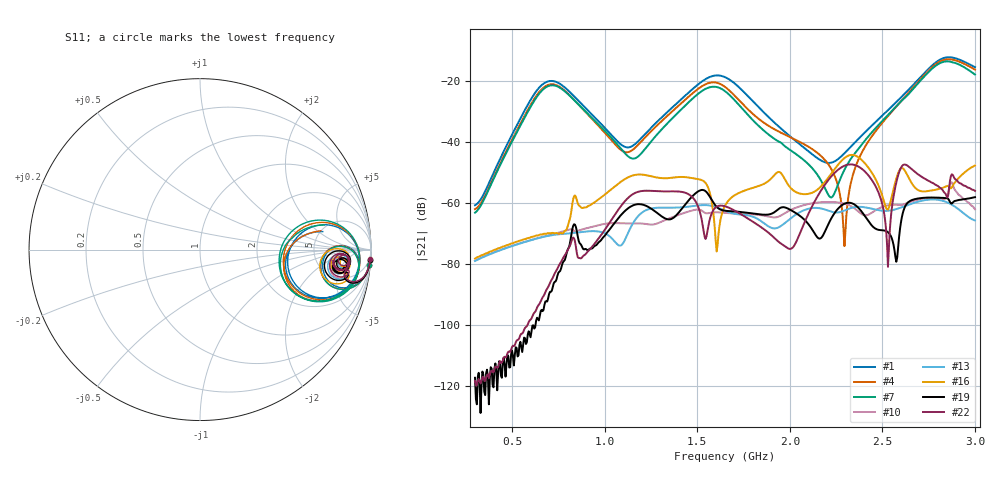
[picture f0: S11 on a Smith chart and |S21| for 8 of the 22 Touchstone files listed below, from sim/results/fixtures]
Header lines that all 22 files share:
! simulated by sim/fixtures_fdtd.py (S12 = S21, S22 not computed)
# HZ S RI R 50
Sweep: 300 MHz to 3 GHz
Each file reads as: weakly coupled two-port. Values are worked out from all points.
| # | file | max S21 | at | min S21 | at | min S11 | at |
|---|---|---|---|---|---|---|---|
| 1 | xloopR50_cx_empty.s2p | -12.37 dB | 2.86 GHz | -60.8 dB | 300 MHz | -5.9 dB | 2.84 GHz |
| 2 | xloopR50_cx_flat0_+00+00_genuine.s2p | -13.09 dB | 2.86 GHz | -69.6 dB | 2.3 GHz | -6.1 dB | 1.61 GHz |
| 3 | xloopR50_cx_flat0_+00+00_tampered.s2p | -13.67 dB | 2.855 GHz | -63.4 dB | 300 MHz | -6.7 dB | 2.835 GHz |
| 4 | xloopR50_cx_flat0_+02+01_genuine.s2p | -13.03 dB | 2.855 GHz | -74.2 dB | 2.295 GHz | -6.2 dB | 1.61 GHz |
| 5 | xloopR50_cx_flat0_+02+01_tampered.s2p | -13.51 dB | 2.855 GHz | -63.5 dB | 300 MHz | -6.7 dB | 2.835 GHz |
| 6 | xloopR50_cx_flat180_+00+00_genuine.s2p | -13.12 dB | 2.855 GHz | -63.0 dB | 300 MHz | -6.6 dB | 1.61 GHz |
| 7 | xloopR50_cx_flat180_+00+00_tampered.s2p | -13.71 dB | 2.85 GHz | -63.3 dB | 300 MHz | -6.6 dB | 1.605 GHz |
| 8 | xloopR50_hv_empty.s2p | -53.16 dB | 2.805 GHz | -72.4 dB | 300 MHz | -2.3 dB | 1.19 GHz |
| 9 | xloopR50_hv_flat0_+00+00_genuine.s2p | -59.41 dB | 2.795 GHz | -79.0 dB | 300 MHz | -2.3 dB | 1.19 GHz |
| 10 | xloopR50_hv_flat0_+00+00_tampered.s2p | -53.29 dB | 2.87 GHz | -79.0 dB | 300 MHz | -2.3 dB | 1.19 GHz |
| 11 | xloopR50_hv_flat0_+00+28_genuine.s2p | -49.03 dB | 2.845 GHz | -72.4 dB | 300 MHz | -2.4 dB | 2.995 GHz |
| 12 | xloopR50_hv_flat0_+00+28_tampered.s2p | -47.60 dB | 2.83 GHz | -75.5 dB | 1.8 GHz | -2.4 dB | 2.99 GHz |
| 13 | xloopR50_hv_flat90_+00+00_genuine.s2p | -58.94 dB | 2.77 GHz | -79.1 dB | 300 MHz | -2.5 dB | 1.185 GHz |
| 14 | xloopR50_hv_flat90_+00+00_tampered.s2p | -50.52 dB | 1.48 GHz | -78.8 dB | 300 MHz | -2.8 dB | 1.17 GHz |
| 15 | xloopR50_hv_flat90_+28+00_genuine.s2p | -53.96 dB | 2.35 GHz | -79.5 dB | 300 MHz | -2.5 dB | 1.195 GHz |
| 16 | xloopR50_hv_flat90_+28+00_tampered.s2p | -44.34 dB | 2.335 GHz | -78.3 dB | 300 MHz | -3.0 dB | 1.2 GHz |
| 17 | xloopR50_xv_flat0_+00+00_tampered.s2p | -66.58 dB | 2.65 GHz | -134.0 dB | 300 MHz | -2.8 dB | 1.155 GHz |
| 18 | xloopR50_xv_flat0_+00+28_genuine.s2p | -59.65 dB | 1.185 GHz | -107.2 dB | 300 MHz | -2.5 dB | 1.185 GHz |
| 19 | xloopR50_xv_flat0_+00+28_tampered.s2p | -55.82 dB | 1.525 GHz | -128.9 dB | 330 MHz | -2.7 dB | 1.175 GHz |
| 20 | xloopR50_xv_flat90_+00+00_tampered.s2p | -64.52 dB | 2.875 GHz | -128.0 dB | 305 MHz | -2.3 dB | 1.17 GHz |
| 21 | xloopR50_xv_flat90_+28+00_genuine.s2p | -56.77 dB | 2.315 GHz | -108.1 dB | 300 MHz | -2.3 dB | 1.17 GHz |
| 22 | xloopR50_xv_flat90_+28+00_tampered.s2p | -47.45 dB | 2.33 GHz | -120.0 dB | 305 MHz | -2.3 dB | 1.17 GHz |
